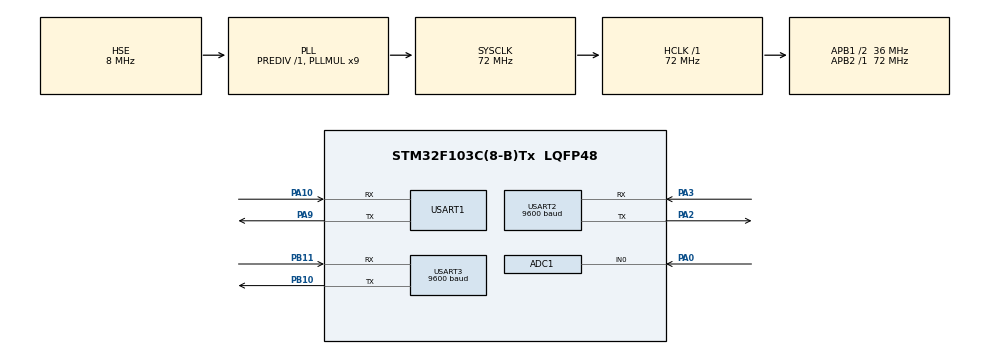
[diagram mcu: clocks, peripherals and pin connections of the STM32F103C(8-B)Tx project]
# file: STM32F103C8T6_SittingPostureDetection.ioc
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ADC1.Channel-0\#ChannelRegularConversion=ADC_CHANNEL_0
ADC1.NbrOfConversionFlag=1
ADC1.Rank-0\#ChannelRegularConversion=1
ADC1.SamplingTime-0\#ChannelRegularConversion=ADC_SAMPLETIME_1CYCLE_5
ADC1.master=1
Mcu.Family=STM32F1
Mcu.Name=STM32F103C(8-B)Tx
Mcu.Package=LQFP48
NVIC.PriorityGroup=NVIC_PRIORITYGROUP_4
NVIC.USART1_IRQn=true\:0\:0\:false\:false\:true\:true\:true\:true
NVIC.USART2_IRQn=true\:0\:0\:false\:false\:true\:true\:true\:true
NVIC.USART3_IRQn=true\:0\:0\:false\:false\:true\:true\:true\:true
PA0-WKUP.Signal=ADCx_IN0
PA10.Mode=Asynchronous
PA10.Signal=USART1_RX
PA13.Mode=Serial_Wire
PA13.Signal=SYS_JTMS-SWDIO
PA14.Mode=Serial_Wire
PA14.Signal=SYS_JTCK-SWCLK
PA2.Mode=Asynchronous
PA2.Signal=USART2_TX
PA3.Mode=Asynchronous
PA3.Signal=USART2_RX
PA9.Mode=Asynchronous
PA9.Signal=USART1_TX
PB10.Mode=Asynchronous
PB10.Signal=USART3_TX
PB11.Mode=Asynchronous
PB11.Signal=USART3_RX
PD0-OSC_IN.Mode=HSE-External-Oscillator
PD0-OSC_IN.Signal=RCC_OSC_IN
PD1-OSC_OUT.Mode=HSE-External-Oscillator
PD1-OSC_OUT.Signal=RCC_OSC_OUT
ProjectManager.HeapSize=0x200
ProjectManager.StackSize=0x400
ProjectManager.TargetToolchain=MDK-ARM V5.32
RCC.ADCPresc=RCC_ADCPCLK2_DIV6
RCC.AHBFreq_Value=72000000
RCC.APB1CLKDivider=RCC_HCLK_DIV2
RCC.APB1Freq_Value=36000000
RCC.APB1TimFreq_Value=72000000
RCC.APB2Freq_Value=72000000
RCC.APB2TimFreq_Value=72000000
RCC.HCLKFreq_Value=72000000
RCC.PLLMUL=RCC_PLL_MUL9
RCC.PLLSourceVirtual=RCC_PLLSOURCE_HSE
RCC.SYSCLKFreq_VALUE=72000000
RCC.SYSCLKSource=RCC_SYSCLKSOURCE_PLLCLK
RCC.USBFreq_Value=72000000
SH.ADCx_IN0.0=ADC1_IN0,IN0
USART1.VirtualMode=VM_ASYNC
USART2.BaudRate=9600
USART2.VirtualMode=VM_ASYNC
USART3.BaudRate=9600
USART3.VirtualMode=VM_ASYNC
board=custom

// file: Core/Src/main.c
/* USER CODE BEGIN Header */
/**
  ******************************************************************************
  * @file           : main.c
  * @brief          : Main program body
  ******************************************************************************
  * @attention
  *
  * Copyright (c) 2024 STMicroelectronics.
  * All rights reserved.
  *
  * This software is licensed under terms that can be found in the LICENSE file
  * in the root directory of this software component.
  * If no LICENSE file comes with this software, it is provided AS-IS.
  *
  ******************************************************************************
  */
/* USER CODE END Header */
#include "main.h"
#include "adc.h"
#include "usart.h"
#include "gpio.h"

/* USER CODE BEGIN Includes */

#include <stdio.h>
#include "my_uart.h"

/* USER CODE END Includes */

void SystemClock_Config(void);

int main(void)
{

  /* MCU Configuration--------------------------------------------------------*/

  /* Reset of all peripherals, Initializes the Flash interface and the Systick. */
  HAL_Init();

  /* Configure the system clock */
  SystemClock_Config();

  /* Initialize all configured peripherals */
  MX_GPIO_Init();
  MX_ADC1_Init();
  MX_USART1_UART_Init();
  MX_USART2_UART_Init();
  MX_USART3_UART_Init();
  /* USER CODE BEGIN 2 */
	HAL_ADCEx_Calibration_Start(&hadc1);//ADC校准
	HAL_UART_Receive_IT(&huart3, (uint8_t *)&aRxBuf_3, 1);//开启串口中断

	int Distance = 0, Lux = 0;
	uint16_t ADC_Value = 0;
	uint32_t T_point1 = 0, T_point2 = 0;

	HAL_Delay(500);
	DY_SV17F_Init();
  /* USER CODE END 2 */

  /* Infinite loop */
  /* USER CODE BEGIN WHILE */
	while (1)
	{
		HAL_ADC_Start(&hadc1);//开始ADC转换
		ADC_Value = HAL_ADC_GetValue(&hadc1);//读取ADC数值
		Lux = ADC_Value * 1000 / 4096;//ADC 0-4095 到 0-1000Lux 转换
		Distance = GetDistance();//获取距离值
		if(Distance < 30)//30cm为距离阈值条件
		{
			if(HAL_GetTick() - T_point1 >= 4000)
			{
				DY_SV17F_Warning_D();//语音提醒距离
				T_point1 = HAL_GetTick();
			}
		}
		if(Lux < 100)//100Lux为光照阈值条件
		{
			if(HAL_GetTick() - T_point2 >= 4000)
			{
				DY_SV17F_Warning_L();//语音提醒光照
				T_point2 = HAL_GetTick();
			}
		}
		printf("%d,%d\r\n", Distance, Lux);//发送当前数据给物联网模块（ESP32）
		HAL_Delay(500);//延时
    /* USER CODE END WHILE */

  }
}

void SystemClock_Config(void)
{
  RCC_OscInitTypeDef RCC_OscInitStruct = {0};
  RCC_ClkInitTypeDef RCC_ClkInitStruct = {0};
  RCC_PeriphCLKInitTypeDef PeriphClkInit = {0};

  /** Initializes the RCC Oscillators according to the specified parameters
  * in the RCC_OscInitTypeDef structure.
  */
  RCC_OscInitStruct.OscillatorType = RCC_OSCILLATORTYPE_HSE;
  RCC_OscInitStruct.HSEState = RCC_HSE_ON;
  RCC_OscInitStruct.HSEPredivValue = RCC_HSE_PREDIV_DIV1;
  RCC_OscInitStruct.HSIState = RCC_HSI_ON;
  RCC_OscInitStruct.PLL.PLLState = RCC_PLL_ON;
  RCC_OscInitStruct.PLL.PLLSource = RCC_PLLSOURCE_HSE;
  RCC_OscInitStruct.PLL.PLLMUL = RCC_PLL_MUL9;
  if (HAL_RCC_OscConfig(&RCC_OscInitStruct) != HAL_OK)
  {
    Error_Handler();
  }

  /** Initializes the CPU, AHB and APB buses clocks
  */
  RCC_ClkInitStruct.ClockType = RCC_CLOCKTYPE_HCLK|RCC_CLOCKTYPE_SYSCLK
                              |RCC_CLOCKTYPE_PCLK1|RCC_CLOCKTYPE_PCLK2;
  RCC_ClkInitStruct.SYSCLKSource = RCC_SYSCLKSOURCE_PLLCLK;
  RCC_ClkInitStruct.AHBCLKDivider = RCC_SYSCLK_DIV1;
  RCC_ClkInitStruct.APB1CLKDivider = RCC_HCLK_DIV2;
  RCC_ClkInitStruct.APB2CLKDivider = RCC_HCLK_DIV1;

  if (HAL_RCC_ClockConfig(&RCC_ClkInitStruct, FLASH_LATENCY_2) != HAL_OK)
  {
    Error_Handler();
  }
  PeriphClkInit.PeriphClockSelection = RCC_PERIPHCLK_ADC;
  PeriphClkInit.AdcClockSelection = RCC_ADCPCLK2_DIV6;
  if (HAL_RCCEx_PeriphCLKConfig(&PeriphClkInit) != HAL_OK)
  {
    Error_Handler();
  }
}

void Error_Handler(void)
{
  __disable_irq();
  while (1)
  {
  }
}
